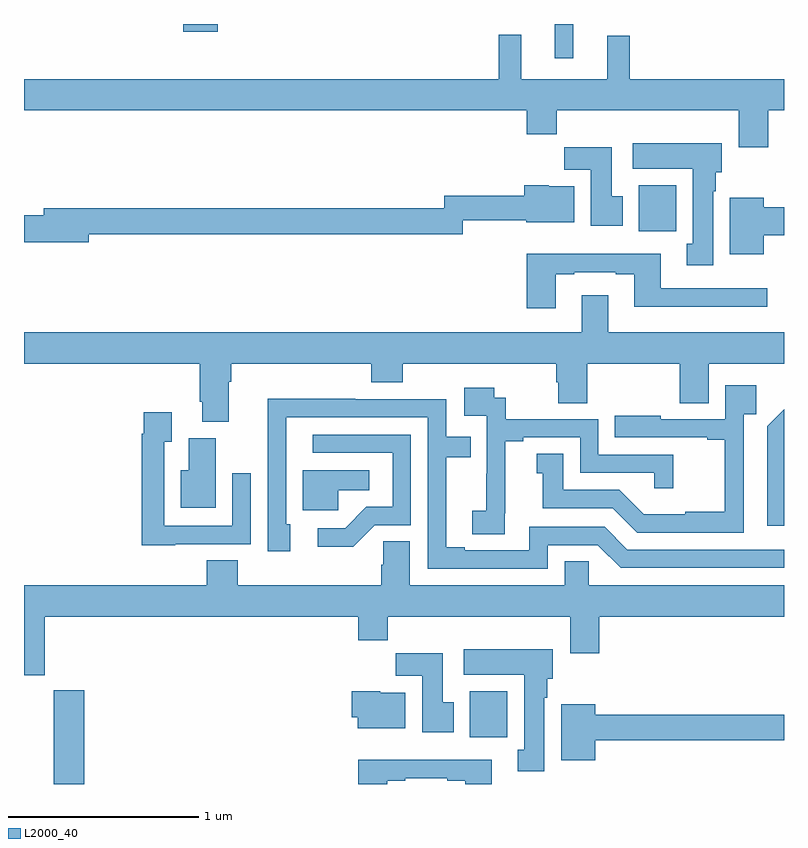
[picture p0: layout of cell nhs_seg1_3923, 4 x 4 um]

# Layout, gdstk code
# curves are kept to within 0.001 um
import gdstk
lib = gdstk.Library(unit=1e-6, precision=1e-09)
def R(c, l, rs):  # rectangles x0, y0, x1, y1
    for r in rs: c.add(gdstk.rectangle(r[:2], r[2:], *l))
def P(c, l, *ps):  # polygons
    for p in ps: c.add(gdstk.Polygon(p, *l))
L2000_40 = (2000, 40)

nhs_seg1_3923 = lib.new_cell('nhs_seg1_3923')
R(nhs_seg1_3923, L2000_40, [(325.156,536.199,325.316,536.692), (327.347,536.444,327.544,536.686), (328.235,539.108,328.432,539.35), (327.794,540.018,327.891,540.199), (325.838,540.159,326.021,540.199)])
P(nhs_seg1_3923, L2000_40, [(328.916,539.744),(329,539.744),(329,539.908),(328.187,539.908),(328.187,540.136),(328.07,540.136),(328.07,539.908),(327.617,539.908),(327.617,540.142),(327.499,540.142),(327.499,539.908),(325,539.908),(325,539.744),(327.647,539.744),(327.647,539.62),(327.803,539.62),(327.803,539.744),(328.763,539.744),(328.763,539.55),(328.916,539.55)],
  [(328.627,539.318),(328.642,539.318),(328.642,539.418),(328.672,539.418),(328.672,539.572),(328.203,539.572),(328.203,539.438),(328.52,539.438),(328.52,539.042),(328.487,539.042),(328.487,538.929),(328.627,538.929)],
  [(328.15,539.292),(328.093,539.292),(328.093,539.551),(327.844,539.551),(327.844,539.432),(327.983,539.432),(327.983,539.136),(328.15,539.136)],
  [(325.342,539.092),(327.309,539.092),(327.309,539.167),(327.644,539.167),(327.644,539.156),(327.895,539.156),(327.895,539.344),(327.762,539.344),(327.762,539.35),(327.632,539.35),(327.632,539.296),(327.213,539.296),(327.213,539.228),(325.103,539.228),(325.103,539.192),(325,539.192),(325,539.05),(325.342,539.05)],
  [(328.894,539.087),(329,539.087),(329,539.234),(328.894,539.234),(328.894,539.284),(328.715,539.284),(328.715,538.988),(328.894,538.988)],
  [(327.799,538.881),(327.895,538.881),(327.895,538.893),(328.115,538.893),(328.115,538.881),(328.211,538.881),(328.211,538.712),(328.912,538.712),(328.912,538.809),(328.351,538.809),(328.351,538.99),(327.647,538.99),(327.647,538.704),(327.799,538.704)],
  [(326.077,538.316),(326.09,538.316),(326.09,538.412),(326.828,538.412),(326.828,538.313),(326.993,538.313),(326.993,538.412),(327.8,538.412),(327.8,538.314),(327.812,538.314),(327.812,538.204),(327.965,538.204),(327.965,538.412),(328.451,538.412),(328.451,538.204),(328.603,538.204),(328.603,538.412),(329,538.412),(329,538.576),(328.075,538.576),(328.075,538.771),(327.935,538.771),(327.935,538.576),(325,538.576),(325,538.412),(325.925,538.412),(325.925,538.21),(325.937,538.21),(325.937,538.105),(326.077,538.105)],
  [(328.788,538.145),(328.853,538.145),(328.853,538.297),(328.692,538.297),(328.692,538.119),(328.351,538.119),(328.351,538.138),(328.108,538.138),(328.108,538.023),(328.595,538.023),(328.595,538.011),(328.687,538.011),(328.687,537.631),(328.481,537.631),(328.481,537.619),(328.262,537.619),(328.134,537.747),(327.838,537.747),(327.838,537.938),(327.698,537.938),(327.698,537.835),(327.731,537.835),(327.731,537.651),(328.098,537.651),(328.227,537.522),(328.788,537.522)],
  [(327.53,537.625),(327.532,537.625),(327.532,538.003),(327.628,538.003),(327.628,538.023),(327.927,538.023),(327.927,537.837),(328.317,537.837),(328.317,537.756),(328.418,537.756),(328.418,537.933),(328.023,537.933),(328.023,538.119),(327.536,538.119),(327.536,538.233),(327.474,538.233),(327.474,538.285),(327.318,538.285),(327.318,538.137),(327.435,538.137),(327.435,537.833),(327.434,537.833),(327.434,537.636),(327.36,537.636),(327.36,537.514),(327.53,537.514)],
  [(327.756,537.456),(328.02,537.456),(328.14,537.336),(329,537.336),(329,537.432),(328.176,537.432),(328.056,537.552),(327.66,537.552),(327.66,537.429),(327.319,537.429),(327.319,537.444),(327.223,537.444),(327.223,537.918),(327.35,537.918),(327.35,538.026),(327.222,538.026),(327.222,538.224),(326.744,538.224),(326.744,538.226),(326.282,538.226),(326.283,537.423),(326.401,537.423),(326.401,537.567),(326.379,537.567),(326.379,538.128),(327.126,538.128),(327.126,537.333),(327.756,537.333)],
  [(329,538.171),(328.911,538.082),(328.911,537.558),(329,537.558)],
  [(325.797,537.462),(326.193,537.462),(326.193,537.835),(326.097,537.835),(326.097,537.558),(325.737,537.558),(325.737,538),(325.777,538),(325.777,538.156),(325.629,538.156),(325.629,538.043),(325.621,538.043),(325.621,537.455),(325.797,537.455)],
  [(326.847,537.561),(327.036,537.561),(327.036,538.038),(326.52,538.038),(326.52,537.942),(326.94,537.942),(326.94,537.657),(326.802,537.657),(326.691,537.546),(326.547,537.546),(326.547,537.449),(326.734,537.449)],
  [(326.008,538.02),(325.868,538.02),(325.868,537.85),(325.826,537.85),(325.826,537.653),(326.008,537.653)],
  [(326.655,537.746),(326.818,537.746),(326.818,537.85),(326.468,537.85),(326.468,537.639),(326.655,537.639)],
  [(325.108,537.08),(326.759,537.08),(326.759,536.956),(326.915,536.956),(326.915,537.08),(327.875,537.08),(327.875,536.886),(328.028,536.886),(328.028,537.08),(329,537.08),(329,537.244),(327.972,537.244),(327.972,537.371),(327.845,537.371),(327.845,537.244),(327.031,537.244),(327.031,537.476),(326.892,537.476),(326.892,537.353),(326.879,537.353),(326.879,537.244),(326.126,537.244),(326.126,537.377),(325.961,537.377),(325.961,537.244),(325,537.244),(325,536.771),(325.108,536.771)],
  [(327.739,536.654),(327.754,536.654),(327.754,536.754),(327.784,536.754),(327.784,536.908),(327.315,536.908),(327.315,536.774),(327.632,536.774),(327.632,536.378),(327.599,536.378),(327.599,536.265),(327.739,536.265)],
  [(327.262,536.628),(327.205,536.628),(327.205,536.887),(326.956,536.887),(326.956,536.768),(327.095,536.768),(327.095,536.472),(327.262,536.472)],
  [(327.007,536.68),(326.874,536.68),(326.874,536.686),(326.726,536.686),(326.726,536.55),(326.756,536.55),(326.756,536.492),(327.007,536.492)],
  [(328.006,536.428),(329,536.428),(329,536.564),(328.006,536.564),(328.006,536.62),(327.827,536.62),(327.827,536.324),(328.006,536.324)],
  [(326.911,536.217),(327.007,536.217),(327.007,536.229),(327.227,536.229),(327.227,536.217),(327.323,536.217),(327.323,536.199),(327.463,536.199),(327.463,536.326),(326.759,536.326),(326.759,536.199),(326.911,536.199)])

lib.write_gds('nhs_seg1_3923.gds')
